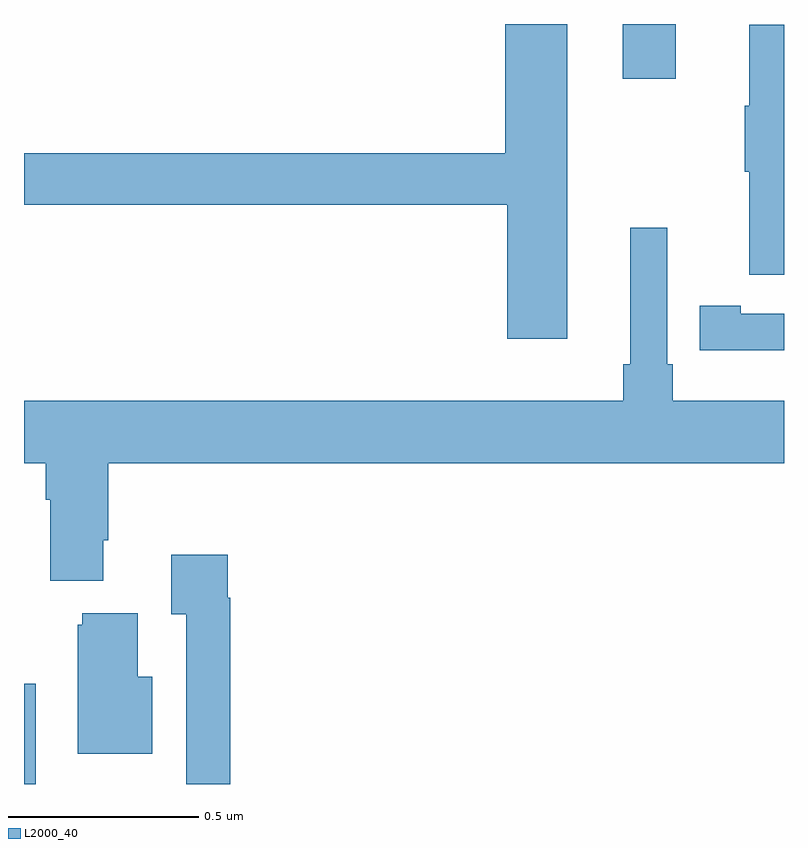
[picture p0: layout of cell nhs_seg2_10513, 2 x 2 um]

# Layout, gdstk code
import gdstk
lib = gdstk.Library(unit=1e-6, precision=1e-09)
def R(c, l, rs):  # rectangles x0, y0, x1, y1
    for r in rs: c.add(gdstk.rectangle(r[:2], r[2:], *l))
def P(c, l, *ps):  # polygons
    for p in ps: c.add(gdstk.Polygon(p, *l))
L2000_40 = (2000, 40)

nhs_seg2_10513 = lib.new_cell('nhs_seg2_10513')
R(nhs_seg2_10513, L2000_40, [(242,638.8,242.031,639.064), (243.575,640.656,243.715,640.8)])
P(nhs_seg2_10513, L2000_40, [(243.43,640.8),(243.266,640.8),(243.266,640.46),(242,640.46),(242,640.324),(243.272,640.324),(243.272,639.972),(243.43,639.972)],
  [(244,640.798),(243.908,640.798),(243.908,640.585),(243.897,640.585),(243.897,640.411),(243.908,640.411),(243.908,640.14),(244,640.14)],
  [(242.209,639.442),(242.222,639.442),(242.222,639.644),(244,639.644),(244,639.808),(243.707,639.808),(243.707,639.904),(243.693,639.904),(243.693,640.264),(243.596,640.264),(243.596,639.904),(243.577,639.904),(243.577,639.808),(242,639.808),(242,639.644),(242.057,639.644),(242.057,639.548),(242.069,639.548),(242.069,639.335),(242.209,639.335)],
  [(244,640.038),(243.886,640.038),(243.886,640.058),(243.778,640.058),(243.778,639.942),(243.886,639.942),(243.886,639.941),(244,639.941)],
  [(242.543,639.29),(242.536,639.29),(242.536,639.403),(242.387,639.403),(242.387,639.247),(242.427,639.247),(242.427,638.8),(242.543,638.8)],
  [(242.338,639.082),(242.299,639.082),(242.299,639.25),(242.153,639.25),(242.153,639.219),(242.141,639.219),(242.141,638.879),(242.338,638.879)])

lib.write_gds('nhs_seg2_10513.gds')
